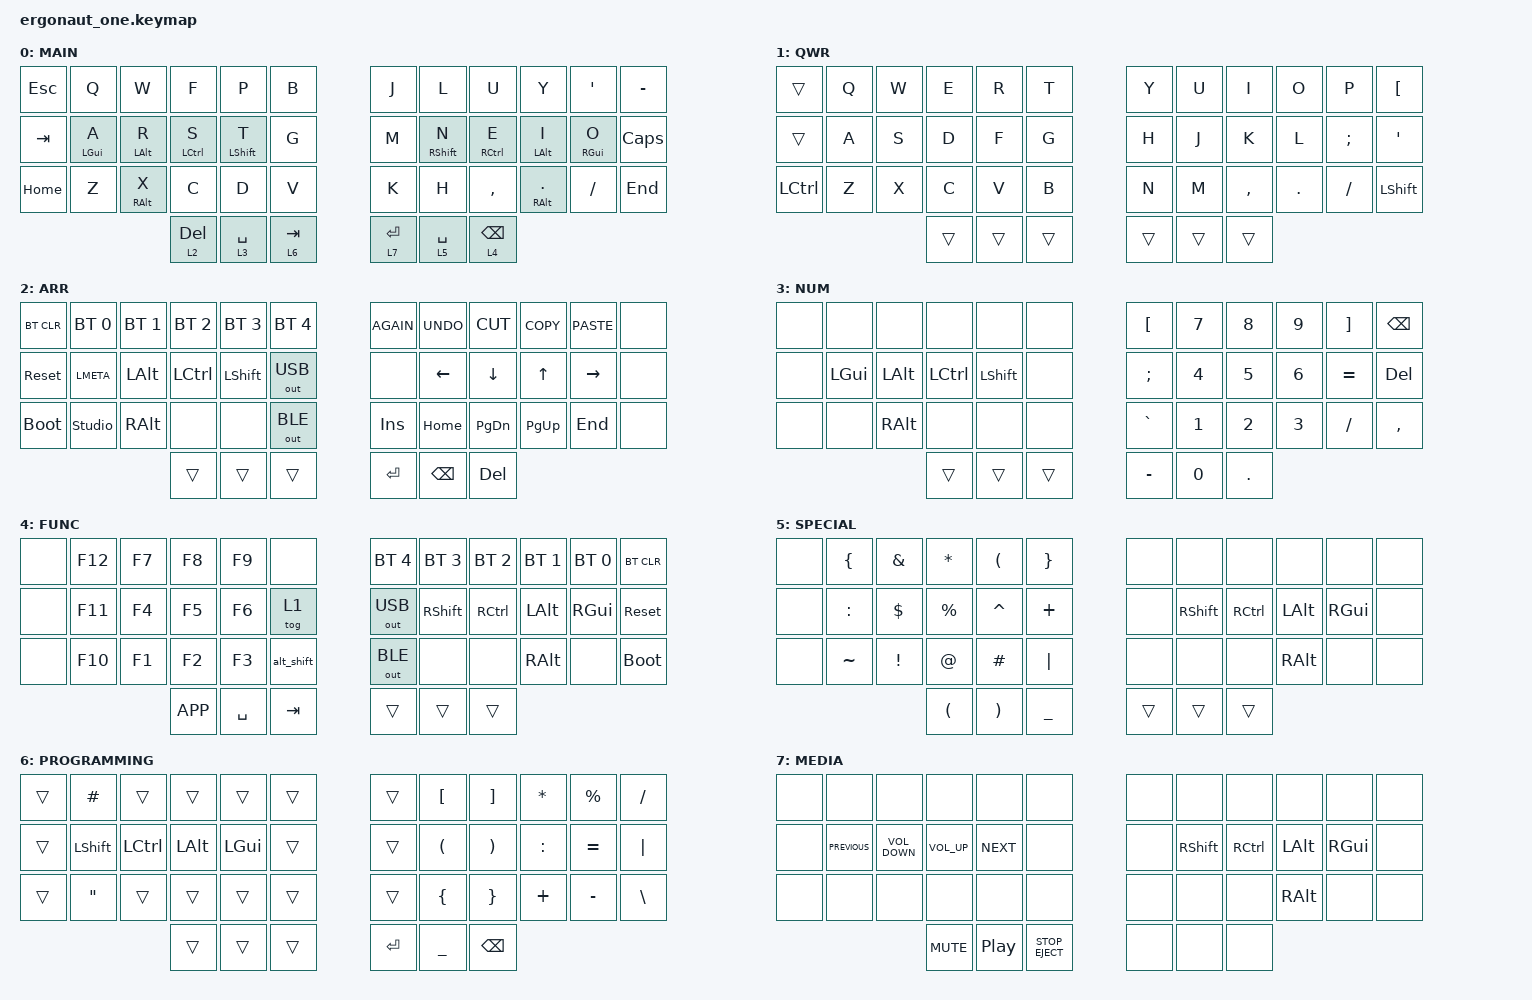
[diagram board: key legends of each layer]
#include <behaviors.dtsi>
#include <dt-bindings/zmk/bt.h>
#include <dt-bindings/zmk/keys.h>
#include <dt-bindings/zmk/outputs.h>

#define DEF 0
#define QWR 1
#define ARR 2
#define NUM 3
#define FUNC 4
#define SPECIAL 5
#define MEDIA 6
#define PROGRAMMING 7

&lt {
    flavor = "tap-preferred";
    tapping-term-ms = <180>;
    quick-tap-ms = <175>;
};

&mt {
    flavor = "tap-preferred";
    tapping-term-ms = <150>;
    quick-tap-ms = <100>;
    require-prior-idle-ms = <220>;
};

/ {
    conditional_layers { compatible = "zmk,conditional-layers"; };

    macros {
        alt_shift: alt_shift {
            compatible = "zmk,behavior-macro";
            #binding-cells = <0>;
            bindings =
                <&macro_press &kp LEFT_ALT>,
                <&macro_tap   &kp LEFT_SHIFT>,
                <&macro_release &kp LEFT_ALT>;
            label = "ALT_SHIFT";
        };
    };

    keymap {
        compatible = "zmk,keymap";

        default_layer {
            display-name = "MAIN";
            bindings = <
            &kp ESCAPE  &kp Q       &kp W           &kp F         &kp P             &kp B      &kp J        &kp L         &kp U            &kp Y            &kp SQT          &kp MINUS
            &kp TAB     &mt LGUI A  &mt LEFT_ALT R  &mt LCTRL S   &mt LEFT_SHIFT T  &kp G      &kp M        &mt RSHIFT N  &mt RCTRL E      &mt LEFT_ALT I   &mt RIGHT_GUI O  &kp CAPS
            &kp HOME    &kp Z       &mt RALT X      &kp C         &kp D             &kp V      &kp K        &kp H         &kp COMMA        &mt RALT PERIOD  &kp FSLH         &kp END
            &lt 2 DELETE  &lt 3 SPACE       &lt 6 TAB  &lt 7 ENTER  &lt 5 SPACE   &lt 4 BACKSPACE
            >;
        };

        qwerty {
            display-name = "QWR";
            bindings = <
            &trans     &kp Q  &kp W  &kp E   &kp R   &kp T   &kp Y   &kp U   &kp I      &kp O       &kp P          &kp LEFT_BRACKET
            &trans     &kp A  &kp S  &kp D   &kp F   &kp G   &kp H   &kp J   &kp K      &kp L       &kp SEMICOLON  &kp SQT
            &kp LCTRL  &kp Z  &kp X  &kp C   &kp V   &kp B   &kp N   &kp M   &kp COMMA  &kp PERIOD  &kp SLASH      &kp LEFT_SHIFT
            &trans  &trans  &trans  &trans  &trans  &trans
            >;
        };

        arrows {
            display-name = "ARR";
            bindings = <
            &bt BT_CLR  &bt BT_SEL 0    &bt BT_SEL 1  &bt BT_SEL 2  &bt BT_SEL 3  &bt BT_SEL 4   &kp K_AGAIN  &kp K_UNDO     &kp K_CUT       &kp K_COPY    &kp K_PASTE  &none
            &sys_reset       &kp LMETA  &kp LALT  &kp LCTRL  &kp LSHIFT  &out OUT_USB   &none        &kp LEFT       &kp DOWN_ARROW  &kp UP_ARROW  &kp RIGHT    &none
            &bootloader        &studio_unlock      &kp RALT  &none      &none       &out OUT_BLE   &kp INSERT   &kp HOME       &kp PAGE_DOWN   &kp PAGE_UP   &kp END      &none
            &trans     &trans       &trans  &kp ENTER    &kp BACKSPACE  &kp DEL
            >;
        };

        numbers {
            display-name = "NUM";
            bindings = <
            &none  &none     &none     &none      &none      &none   &kp LBKT   &kp N7  &kp N8   &kp N9  &kp RBKT   &kp BACKSPACE
            &none  &kp LGUI  &kp LALT  &kp LCTRL  &kp LSHFT  &none   &kp SEMI   &kp N4  &kp N5   &kp N6  &kp EQUAL  &kp DEL
            &none  &none     &kp RALT  &none      &none      &none   &kp GRAVE  &kp N1  &kp N2   &kp N3  &kp SLASH  &kp COMMA
            &trans     &trans     &trans  &kp MINUS  &kp N0  &kp DOT
            >;
        };

        function {
            display-name = "FUNC";
            bindings = <
            &none  &kp F12  &kp F7  &kp F8     &kp F9     &none       &bt BT_SEL 4  &bt BT_SEL 3  &bt BT_SEL 2  &bt BT_SEL 1  &bt BT_SEL 0     &bt BT_CLR
            &none  &kp F11  &kp F4  &kp F5     &kp F6     &tog 1      &out OUT_USB  &kp RSHFT  &kp RCTRL  &kp LALT  &kp RGUI  &sys_reset
            &none  &kp F10  &kp F1  &kp F2     &kp F3     &alt_shift  &out OUT_BLE  &none      &none      &kp RALT  &none     &bootloader
            &kp K_APP  &kp SPACE  &kp TAB     &trans  &trans      &trans
            >;
        };

        special {
            display-name = "SPECIAL";
            bindings = <
            &none  &kp LEFT_BRACE  &kp AMPERSAND    &kp ASTERISK          &kp LEFT_PARENTHESIS   &kp RIGHT_BRACE  &none   &none      &none      &none     &none     &none
            &none  &kp COLON       &kp DOLLAR       &kp PERCENT           &kp CARET              &kp PLUS         &none   &kp RSHFT  &kp RCTRL  &kp LALT  &kp RGUI  &none
            &none  &kp TILDE       &kp EXCLAMATION  &kp AT_SIGN           &kp HASH               &kp PIPE         &none   &none      &none      &kp RALT  &none     &none
            &kp LEFT_PARENTHESIS  &kp RIGHT_PARENTHESIS  &kp UNDERSCORE   &trans  &trans     &trans
            >;
        };

        programming {
            display-name = "PROGRAMMING";

            /* PROGRAMMING Layer (Layer 5) - Activated by Right Thumb (&lt 5 SPACE)
             * Optimized for Python programming:
             * - Contains all brackets: (), [], {}
             * - Core Python symbols: :, =, ., _ (on thumb)
             * - Common operators: +, -, *, /, %, #
             * - Modifiers on the left hand for chording.
             */

            bindings = <
            &trans  &kp HASH   &trans     &trans    &trans    &trans  &trans     &kp LEFT_BRACKET  &kp RIGHT_BRACKET  &kp ASTERISK  &kp PERCENT  &kp SLASH
            &trans  &kp LSHFT  &kp LCTRL  &kp LALT  &kp LGUI  &trans  &trans     &kp LPAR          &kp RPAR           &kp COLON     &kp EQUAL    &kp PIPE
            &trans  &kp DQT    &trans     &trans    &trans    &trans  &trans     &kp LEFT_BRACE    &kp RIGHT_BRACE    &kp PLUS      &kp MINUS    &kp BSLH
            &trans    &trans    &trans  &kp ENTER  &kp UNDERSCORE    &kp BACKSPACE
            >;
        };

        media {
            display-name = "MEDIA";
            bindings = <
            &none  &none           &none              &none            &none             &none             &none  &none      &none      &none     &none     &none
            &none  &kp C_PREVIOUS  &kp C_VOLUME_DOWN  &kp C_VOLUME_UP  &kp C_NEXT        &none             &none  &kp RSHFT  &kp RCTRL  &kp LALT  &kp RGUI  &none
            &none  &none           &none              &none            &none             &none             &none  &none      &none      &kp RALT  &none     &none
            &kp C_MUTE       &kp C_PLAY_PAUSE  &kp C_STOP_EJECT  &none  &none      &none
            >;
        };

        extra1 { status = "reserved"; };

        extra2 { status = "reserved"; };

        extra3 { status = "reserved"; };
    };
};
